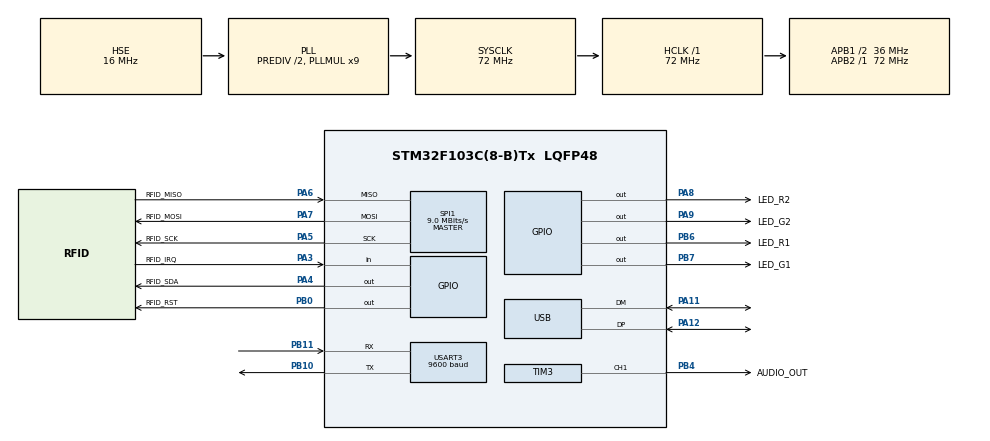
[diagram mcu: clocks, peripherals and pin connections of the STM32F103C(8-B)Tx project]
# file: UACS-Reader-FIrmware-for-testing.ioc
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Dma.Request0=USART3_TX
Dma.Request1=USART3_RX
Dma.USART3_RX.1.Direction=DMA_PERIPH_TO_MEMORY
Dma.USART3_RX.1.Instance=DMA1_Channel3
Dma.USART3_RX.1.MemDataAlignment=DMA_MDATAALIGN_BYTE
Dma.USART3_RX.1.MemInc=DMA_MINC_ENABLE
Dma.USART3_RX.1.Mode=DMA_NORMAL
Dma.USART3_RX.1.PeriphDataAlignment=DMA_PDATAALIGN_BYTE
Dma.USART3_RX.1.PeriphInc=DMA_PINC_DISABLE
Dma.USART3_RX.1.Priority=DMA_PRIORITY_LOW
Dma.USART3_TX.0.Direction=DMA_MEMORY_TO_PERIPH
Dma.USART3_TX.0.Instance=DMA1_Channel2
Dma.USART3_TX.0.MemDataAlignment=DMA_MDATAALIGN_BYTE
Dma.USART3_TX.0.MemInc=DMA_MINC_ENABLE
Dma.USART3_TX.0.Mode=DMA_NORMAL
Dma.USART3_TX.0.PeriphDataAlignment=DMA_PDATAALIGN_BYTE
Dma.USART3_TX.0.PeriphInc=DMA_PINC_DISABLE
Dma.USART3_TX.0.Priority=DMA_PRIORITY_LOW
Mcu.Family=STM32F1
Mcu.Name=STM32F103C(8-B)Tx
Mcu.Package=LQFP48
NVIC.DMA1_Channel2_IRQn=true\:0\:0\:false\:false\:true\:false\:true\:true
NVIC.DMA1_Channel3_IRQn=true\:0\:0\:false\:false\:true\:false\:true\:true
NVIC.PriorityGroup=NVIC_PRIORITYGROUP_4
NVIC.TIM2_IRQn=true\:0\:0\:false\:false\:true\:true\:true\:true
NVIC.USART3_IRQn=true\:0\:0\:false\:false\:true\:true\:true\:true
NVIC.USB_LP_CAN1_RX0_IRQn=true\:0\:0\:false\:false\:true\:false\:true\:true
PA11.Mode=Device
PA11.Signal=USB_DM
PA12.Mode=Device
PA12.Signal=USB_DP
PA13.Mode=Trace_Asynchronous_SW
PA13.Signal=SYS_JTMS-SWDIO
PA14.Mode=Trace_Asynchronous_SW
PA14.Signal=SYS_JTCK-SWCLK
PA3.GPIO_Label=RFID_IRQ
PA3.Signal=GPIO_Input
PA4.GPIO_Label=RFID_SDA
PA4.Signal=GPIO_Output
PA5.GPIO_Label=RFID_SCK
PA5.Mode=Full_Duplex_Master
PA5.Signal=SPI1_SCK
PA6.GPIO_Label=RFID_MISO
PA6.Mode=Full_Duplex_Master
PA6.Signal=SPI1_MISO
PA7.GPIO_Label=RFID_MOSI
PA7.Mode=Full_Duplex_Master
PA7.Signal=SPI1_MOSI
PA8.GPIO_Label=LED_R2
PA8.Signal=GPIO_Output
PA9.GPIO_Label=LED_G2
PA9.Signal=GPIO_Output
PB0.GPIO_Label=RFID_RST
PB0.Signal=GPIO_Output
PB10.Mode=Asynchronous
PB10.Signal=USART3_TX
PB11.Mode=Asynchronous
PB11.Signal=USART3_RX
PB3.Mode=Trace_Asynchronous_SW
PB3.Signal=SYS_JTDO-TRACESWO
PB4.GPIO_Label=AUDIO_OUT
PB4.Signal=S_TIM3_CH1
PB6.GPIO_Label=LED_R1
PB6.Signal=GPIO_Output
PB7.GPIO_Label=LED_G1
PB7.Signal=GPIO_Output
PD0-OSC_IN.Mode=HSE-External-Oscillator
PD0-OSC_IN.Signal=RCC_OSC_IN
PD1-OSC_OUT.Mode=HSE-External-Oscillator
PD1-OSC_OUT.Signal=RCC_OSC_OUT
ProjectManager.HeapSize=0x200
ProjectManager.StackSize=0x400
ProjectManager.TargetToolchain=STM32CubeIDE
RCC.AHBFreq_Value=72000000
RCC.APB1CLKDivider=RCC_HCLK_DIV2
RCC.APB1Freq_Value=36000000
RCC.APB1TimFreq_Value=72000000
RCC.APB2Freq_Value=72000000
RCC.APB2TimFreq_Value=72000000
RCC.HCLKFreq_Value=72000000
RCC.HSEDivPLL=RCC_HSE_PREDIV_DIV2
RCC.HSE_VALUE=16000000
RCC.PLLMUL=RCC_PLL_MUL9
RCC.PLLSourceVirtual=RCC_PLLSOURCE_HSE
RCC.SYSCLKFreq_VALUE=72000000
RCC.SYSCLKSource=RCC_SYSCLKSOURCE_PLLCLK
RCC.USBFreq_Value=48000000
RCC.USBPrescaler=RCC_USBCLKSOURCE_PLL_DIV1_5
SH.S_TIM3_CH1.0=TIM3_CH1,PWM Generation1 CH1
SPI1.BaudRatePrescaler=SPI_BAUDRATEPRESCALER_8
SPI1.CalculateBaudRate=9.0 MBits/s
SPI1.Direction=SPI_DIRECTION_2LINES
SPI1.Mode=SPI_MODE_MASTER
SPI1.VirtualType=VM_MASTER
TIM2.AutoReloadPreload=TIM_AUTORELOAD_PRELOAD_DISABLE
TIM2.Period=1124
TIM2.Prescaler=0
TIM3.AutoReloadPreload=TIM_AUTORELOAD_PRELOAD_ENABLE
TIM3.Channel-PWM\ Generation1\ CH1=TIM_CHANNEL_1
TIM3.Period=1124
USART3.BaudRate=9600
USART3.VirtualMode=VM_ASYNC
USB_DEVICE.CLASS_NAME_FS=CDC
USB_DEVICE.USBD_DEBUG_LEVEL=3
USB_DEVICE.VirtualMode=Cdc
USB_DEVICE.VirtualModeFS=Cdc_FS
VP_TIM2_VS_ClockSourceINT.Mode=Internal
VP_TIM3_VS_ClockSourceINT.Mode=Internal
VP_USB_DEVICE_VS_USB_DEVICE_CDC_FS.Mode=CDC_FS
board=custom

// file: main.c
/* USER CODE BEGIN Header */
/**
  ******************************************************************************
  * @file           : main.c
  * @brief          : Main program body
  ******************************************************************************
  * @attention
  *
  * Copyright (c) 2025 STMicroelectronics.
  * All rights reserved.
  *
  * This software is licensed under terms that can be found in the LICENSE file
  * in the root directory of this software component.
  * If no LICENSE file comes with this software, it is provided AS-IS.
  *
  ******************************************************************************
  */
/* USER CODE END Header */
#include "main.h"
#include "usb_device.h"

/* USER CODE BEGIN Includes */
#include <math.h>
#include "rc522.h"

/* USER CODE END Includes */

/* USER CODE BEGIN PTD */
typedef struct {
    GPIO_TypeDef *port;
    uint16_t pin;
} LedConfig_t;
/* USER CODE END PTD */

/* USER CODE BEGIN PD */
#define SAMPLES 64
#define PI 3.14159265358979323846f
#define LED_COUNT 4
/* USER CODE END PD */

SPI_HandleTypeDef hspi1;

TIM_HandleTypeDef htim2;
TIM_HandleTypeDef htim3;

UART_HandleTypeDef huart3;
DMA_HandleTypeDef hdma_usart3_tx;
DMA_HandleTypeDef hdma_usart3_rx;

/* USER CODE BEGIN PV */
uint16_t sine_table[SAMPLES];
uint8_t sample_no = 0;

/* variables for managing receptions*/
volatile uint8_t uart_running = 0;
volatile uint8_t rc522_running = 0;

/* variables for managing leds*/
uint8_t state = 0;
uint8_t current_led = 0;
uint32_t blink_duration = 200;
uint32_t last_change_time = 0;
uint8_t total_cycles = 0;
uint8_t completed_cycles = 0;
uint8_t sequence_active = 0;
char led_status[] = "grgr";

/*variables for reading and recepting UID of cards*/
uint8_t status;
uint8_t sNum[8];
uint8_t card_id[8];
uint8_t tmp[8];
char out[24];

/*uart buffers*/
uint8_t uart_txbuf[64];
uint8_t uart_rxbuf[64];

/*usb buffer*/
char rx_buffer[1024];
uint8_t rx_index = 0;

/* USER CODE END PV */

void SystemClock_Config(void);
static void MX_GPIO_Init(void);
static void MX_DMA_Init(void);
static void MX_SPI1_Init(void);
static void MX_USART3_UART_Init(void);
static void MX_TIM3_Init(void);
static void MX_TIM2_Init(void);

/* USER CODE BEGIN 0 */
LedConfig_t led_sequence[LED_COUNT] = {
    {GPIOB, GPIO_PIN_6},
    {GPIOB, GPIO_PIN_7},
    {GPIOA, GPIO_PIN_8},
    {GPIOA, GPIO_PIN_9}
};
typedef enum {
    MENU_MAIN,
    MENU_LED,
	MENU_BLICK,
    MENU_UART,
    MENU_TIMER,
	MENU_RC522,
} MenuState;

MenuState currentMenu = MENU_MAIN;
/* USER CODE END 0 */

int main(void)
{

  /* MCU Configuration--------------------------------------------------------*/

  /* Reset of all peripherals, Initializes the Flash interface and the Systick. */
  HAL_Init();

  /* Configure the system clock */
  SystemClock_Config();

  /* Initialize all configured peripherals */
  MX_GPIO_Init();
  MX_DMA_Init();
  MX_SPI1_Init();
  MX_USART3_UART_Init();
  MX_USB_DEVICE_Init();
  MX_TIM3_Init();
  MX_TIM2_Init();

  /* USER CODE BEGIN 2 */

  MFRC522_Init();
  Generate_Pulse_Lenght();
  Period_Led_Blick(2);
  Print_Menu();
  /* USER CODE END 2 */

  /* Infinite loop */
  while (1)
  {

    /* USER CODE BEGIN 3 */
	  Led_Sequence_Update();
	  status = MFRC522_Request(PICC_REQIDL, card_id);
	  status = MFRC522_Anticoll(sNum);
	  memcpy(tmp, sNum, 5);

	  if(rc522_running && (tmp[0] != 147 && tmp[1] != 32)){
		  sprintf(out, "%x%x%x%x%x\r\n", tmp[0], tmp[1], tmp[2], tmp[3], tmp[4]);
		  CDC_Transmit_FS(out, sizeof(out));
	  }else if (uart_running){
		  HAL_UART_Transmit(&huart3, uart_txbuf, sizeof(uart_txbuf), 100);
	  }
	  HAL_UART_Receive_IT(&huart3, uart_rxbuf, sizeof(uart_rxbuf));
  }
  /* USER CODE END 3 */
}

void SystemClock_Config(void)
{
  RCC_OscInitTypeDef RCC_OscInitStruct = {0};
  RCC_ClkInitTypeDef RCC_ClkInitStruct = {0};
  RCC_PeriphCLKInitTypeDef PeriphClkInit = {0};

  /** Initializes the RCC Oscillators according to the specified parameters
  * in the RCC_OscInitTypeDef structure.
  */
  RCC_OscInitStruct.OscillatorType = RCC_OSCILLATORTYPE_HSE;
  RCC_OscInitStruct.HSEState = RCC_HSE_ON;
  RCC_OscInitStruct.HSEPredivValue = RCC_HSE_PREDIV_DIV2;
  RCC_OscInitStruct.HSIState = RCC_HSI_ON;
  RCC_OscInitStruct.PLL.PLLState = RCC_PLL_ON;
  RCC_OscInitStruct.PLL.PLLSource = RCC_PLLSOURCE_HSE;
  RCC_OscInitStruct.PLL.PLLMUL = RCC_PLL_MUL9;
  if (HAL_RCC_OscConfig(&RCC_OscInitStruct) != HAL_OK)
  {
    Error_Handler();
  }

  /** Initializes the CPU, AHB and APB buses clocks
  */
  RCC_ClkInitStruct.ClockType = RCC_CLOCKTYPE_HCLK|RCC_CLOCKTYPE_SYSCLK
                              |RCC_CLOCKTYPE_PCLK1|RCC_CLOCKTYPE_PCLK2;
  RCC_ClkInitStruct.SYSCLKSource = RCC_SYSCLKSOURCE_PLLCLK;
  RCC_ClkInitStruct.AHBCLKDivider = RCC_SYSCLK_DIV1;
  RCC_ClkInitStruct.APB1CLKDivider = RCC_HCLK_DIV2;
  RCC_ClkInitStruct.APB2CLKDivider = RCC_HCLK_DIV1;

  if (HAL_RCC_ClockConfig(&RCC_ClkInitStruct, FLASH_LATENCY_2) != HAL_OK)
  {
    Error_Handler();
  }
  PeriphClkInit.PeriphClockSelection = RCC_PERIPHCLK_USB;
  PeriphClkInit.UsbClockSelection = RCC_USBCLKSOURCE_PLL_DIV1_5;
  if (HAL_RCCEx_PeriphCLKConfig(&PeriphClkInit) != HAL_OK)
  {
    Error_Handler();
  }
}

static void MX_SPI1_Init(void)
{

  /* SPI1 parameter configuration*/
  hspi1.Instance = SPI1;
  hspi1.Init.Mode = SPI_MODE_MASTER;
  hspi1.Init.Direction = SPI_DIRECTION_2LINES;
  hspi1.Init.DataSize = SPI_DATASIZE_8BIT;
  hspi1.Init.CLKPolarity = SPI_POLARITY_LOW;
  hspi1.Init.CLKPhase = SPI_PHASE_1EDGE;
  hspi1.Init.NSS = SPI_NSS_SOFT;
  hspi1.Init.BaudRatePrescaler = SPI_BAUDRATEPRESCALER_8;
  hspi1.Init.FirstBit = SPI_FIRSTBIT_MSB;
  hspi1.Init.TIMode = SPI_TIMODE_DISABLE;
  hspi1.Init.CRCCalculation = SPI_CRCCALCULATION_DISABLE;
  hspi1.Init.CRCPolynomial = 10;
  if (HAL_SPI_Init(&hspi1) != HAL_OK)
  {
    Error_Handler();
  }

}

static void MX_TIM2_Init(void)
{

  TIM_ClockConfigTypeDef sClockSourceConfig = {0};
  TIM_MasterConfigTypeDef sMasterConfig = {0};

  htim2.Instance = TIM2;
  htim2.Init.Prescaler = 0;
  htim2.Init.CounterMode = TIM_COUNTERMODE_UP;
  htim2.Init.Period = 1124;
  htim2.Init.ClockDivision = TIM_CLOCKDIVISION_DIV1;
  htim2.Init.AutoReloadPreload = TIM_AUTORELOAD_PRELOAD_DISABLE;
  if (HAL_TIM_Base_Init(&htim2) != HAL_OK)
  {
    Error_Handler();
  }
  sClockSourceConfig.ClockSource = TIM_CLOCKSOURCE_INTERNAL;
  if (HAL_TIM_ConfigClockSource(&htim2, &sClockSourceConfig) != HAL_OK)
  {
    Error_Handler();
  }
  sMasterConfig.MasterOutputTrigger = TIM_TRGO_RESET;
  sMasterConfig.MasterSlaveMode = TIM_MASTERSLAVEMODE_DISABLE;
  if (HAL_TIMEx_MasterConfigSynchronization(&htim2, &sMasterConfig) != HAL_OK)
  {
    Error_Handler();
  }

}

static void MX_TIM3_Init(void)
{

  TIM_ClockConfigTypeDef sClockSourceConfig = {0};
  TIM_MasterConfigTypeDef sMasterConfig = {0};
  TIM_OC_InitTypeDef sConfigOC = {0};

  htim3.Instance = TIM3;
  htim3.Init.Prescaler = 0;
  htim3.Init.CounterMode = TIM_COUNTERMODE_UP;
  htim3.Init.Period = 1124;
  htim3.Init.ClockDivision = TIM_CLOCKDIVISION_DIV1;
  htim3.Init.AutoReloadPreload = TIM_AUTORELOAD_PRELOAD_ENABLE;
  if (HAL_TIM_Base_Init(&htim3) != HAL_OK)
  {
    Error_Handler();
  }
  sClockSourceConfig.ClockSource = TIM_CLOCKSOURCE_INTERNAL;
  if (HAL_TIM_ConfigClockSource(&htim3, &sClockSourceConfig) != HAL_OK)
  {
    Error_Handler();
  }
  if (HAL_TIM_PWM_Init(&htim3) != HAL_OK)
  {
    Error_Handler();
  }
  sMasterConfig.MasterOutputTrigger = TIM_TRGO_RESET;
  sMasterConfig.MasterSlaveMode = TIM_MASTERSLAVEMODE_DISABLE;
  if (HAL_TIMEx_MasterConfigSynchronization(&htim3, &sMasterConfig) != HAL_OK)
  {
    Error_Handler();
  }
  sConfigOC.OCMode = TIM_OCMODE_PWM1;
  sConfigOC.Pulse = 0;
  sConfigOC.OCPolarity = TIM_OCPOLARITY_HIGH;
  sConfigOC.OCFastMode = TIM_OCFAST_DISABLE;
  if (HAL_TIM_PWM_ConfigChannel(&htim3, &sConfigOC, TIM_CHANNEL_1) != HAL_OK)
  {
    Error_Handler();
  }
  HAL_TIM_MspPostInit(&htim3);

}

static void MX_USART3_UART_Init(void)
{

  huart3.Instance = USART3;
  huart3.Init.BaudRate = 9600;
  huart3.Init.WordLength = UART_WORDLENGTH_8B;
  huart3.Init.StopBits = UART_STOPBITS_1;
  huart3.Init.Parity = UART_PARITY_NONE;
  huart3.Init.Mode = UART_MODE_TX_RX;
  huart3.Init.HwFlowCtl = UART_HWCONTROL_NONE;
  huart3.Init.OverSampling = UART_OVERSAMPLING_16;
  if (HAL_UART_Init(&huart3) != HAL_OK)
  {
    Error_Handler();
  }

}

static void MX_DMA_Init(void)
{

  /* DMA controller clock enable */
  __HAL_RCC_DMA1_CLK_ENABLE();

  /* DMA interrupt init */
  /* DMA1_Channel2_IRQn interrupt configuration */
  HAL_NVIC_SetPriority(DMA1_Channel2_IRQn, 0, 0);
  HAL_NVIC_EnableIRQ(DMA1_Channel2_IRQn);
  /* DMA1_Channel3_IRQn interrupt configuration */
  HAL_NVIC_SetPriority(DMA1_Channel3_IRQn, 0, 0);
  HAL_NVIC_EnableIRQ(DMA1_Channel3_IRQn);

}

static void MX_GPIO_Init(void)
{
  GPIO_InitTypeDef GPIO_InitStruct = {0};

  /* GPIO Ports Clock Enable */
  __HAL_RCC_GPIOD_CLK_ENABLE();
  __HAL_RCC_GPIOA_CLK_ENABLE();
  __HAL_RCC_GPIOB_CLK_ENABLE();

  /*Configure GPIO pin Output Level */
  HAL_GPIO_WritePin(GPIOA, RFID_SDA_Pin|LED_R2_Pin|LED_G2_Pin, GPIO_PIN_RESET);

  /*Configure GPIO pin Output Level */
  HAL_GPIO_WritePin(GPIOB, RFID_RST_Pin|LED_R1_Pin|LED_G1_Pin, GPIO_PIN_RESET);

  /*Configure GPIO pin : RFID_IRQ_Pin */
  GPIO_InitStruct.Pin = RFID_IRQ_Pin;
  GPIO_InitStruct.Mode = GPIO_MODE_INPUT;
  GPIO_InitStruct.Pull = GPIO_NOPULL;
  HAL_GPIO_Init(RFID_IRQ_GPIO_Port, &GPIO_InitStruct);

  /*Configure GPIO pins : RFID_SDA_Pin LED_R2_Pin LED_G2_Pin */
  GPIO_InitStruct.Pin = RFID_SDA_Pin|LED_R2_Pin|LED_G2_Pin;
  GPIO_InitStruct.Mode = GPIO_MODE_OUTPUT_PP;
  GPIO_InitStruct.Pull = GPIO_NOPULL;
  GPIO_InitStruct.Speed = GPIO_SPEED_FREQ_LOW;
  HAL_GPIO_Init(GPIOA, &GPIO_InitStruct);

  /*Configure GPIO pins : RFID_RST_Pin LED_R1_Pin LED_G1_Pin */
  GPIO_InitStruct.Pin = RFID_RST_Pin|LED_R1_Pin|LED_G1_Pin;
  GPIO_InitStruct.Mode = GPIO_MODE_OUTPUT_PP;
  GPIO_InitStruct.Pull = GPIO_NOPULL;
  GPIO_InitStruct.Speed = GPIO_SPEED_FREQ_LOW;
  HAL_GPIO_Init(GPIOB, &GPIO_InitStruct);

}

/* USER CODE BEGIN 4 */
int _write(int file, char *ptr, int len) {
	CDC_Transmit_FS((uint8_t*) ptr, len);
	return len;
}

void Led_Sequence_Update(void) {
    if (!sequence_active) return;

    uint32_t now = HAL_GetTick();

    if (state == 0) {
        HAL_GPIO_WritePin(led_sequence[current_led].port, led_sequence[current_led].pin, GPIO_PIN_SET);
        last_change_time = now;
        state = 1;
    } else {
        if (now - last_change_time >= blink_duration) {
            HAL_GPIO_WritePin(led_sequence[current_led].port, led_sequence[current_led].pin, GPIO_PIN_RESET);
            last_change_time = now;
            state = 0;
            current_led++;

            if (current_led >= LED_COUNT) {
                current_led = 0;
                completed_cycles++;

                if (completed_cycles >= total_cycles) {
                    sequence_active = 0;
                }
            }
        }
    }
}

void Generate_Pulse_Lenght() {
    for (uint8_t i = 0; i < SAMPLES; i++) {
    	float value = ((sinf(2.0f*PI*((float)i/(float)SAMPLES)) + 1.0f)/2.0f)*1124.0f;
        sine_table[i] = value;
    }
}
void HAL_TIM_PeriodElapsedCallback(TIM_HandleTypeDef *htim){
	TIM3->CCR1 = sine_table[sample_no];
	sample_no++;
	if (sample_no > SAMPLES){
		sample_no = 0;
	}
}
void USB_CDC_RxHandler(uint8_t* Buf, uint32_t Len){
	if (Len == 0 && strcmp((char*)Buf, "\n")==0){
		Serial_Command_Handler((char*)Buf);
	}
	for (uint32_t i = 0; i < Len; i++) {
	        char ch = Buf[i];

	        if (ch == '\r' || ch == '\n') {
	            rx_buffer[rx_index] = '\0';
	            Serial_Command_Handler(rx_buffer);
	            rx_index = 0;
	        }
	        else {
	            if (rx_index < 1024 - 1) {
	                rx_buffer[rx_index] = ch;
	                rx_index++;
	            }
	        }
	    }
}
void Serial_Command_Handler(char * Buf){
	uint8_t invalid[] = "Invalid command\r\n";
	if(strcmp(Buf, "q")==0 || strcmp(Buf, "Q" )== 0){
		Print_Menu();
		switch(currentMenu){
		case MENU_TIMER:
			Timer_Stoper();
		case MENU_UART:
			UART_Stop_Tr();
		case MENU_RC522:
			RC522_Stop_Tr();
		}

		currentMenu = MENU_MAIN;
		return;
	}

	switch (currentMenu){
	case MENU_MAIN:
		if (strcmp(Buf, "T") == 0) {
			Led_Menu();
			currentMenu = MENU_LED;
		}else if (strcmp(Buf, "B") == 0){
			Blick_Menu();
			currentMenu = MENU_BLICK;
		}else if (strcmp(Buf, "U") == 0)  {
			UART_Menu();
			currentMenu = MENU_UART;
		}else if (strcmp(Buf, "P") == 0){
			Timer_Menu();
			currentMenu = MENU_TIMER;
		}else if (strcmp(Buf, "R") == 0){
			RC522_Menu();
			RC522_Start_Tr();
			currentMenu = MENU_RC522;
		}else if (strcmp(Buf, "") == 0){
			Print_Menu();
			currentMenu = MENU_MAIN;
		}else {
			CDC_Transmit_FS(invalid, sizeof(invalid));
		}
		break;
	case MENU_LED:
		uint8_t led[16];
		 if (strcmp(Buf, "") == 0){

			 sprintf((char *)led, "%s | ledtest> ", led_status);
			 CDC_Transmit_FS(led, sizeof(led));
			return;
		 }else if (strcmp(Buf, "1") == 0) {
			HAL_GPIO_TogglePin(GPIOB, GPIO_PIN_7);
			Swap_Char(0);
		}else if (strcmp(Buf, "2") == 0){
			HAL_GPIO_TogglePin(GPIOB, GPIO_PIN_6);
			Swap_Char(1);
		}else if (strcmp(Buf, "3") == 0)  {
			HAL_GPIO_TogglePin(GPIOA, GPIO_PIN_9);
			Swap_Char(2);
		}else if (strcmp(Buf, "4") == 0){
			HAL_GPIO_TogglePin(GPIOA, GPIO_PIN_8);
			Swap_Char(3);
		}else {
			CDC_Transmit_FS(invalid, sizeof(invalid));
		}
		sprintf((char *)led, "%s | ledtest> ", led_status);
		CDC_Transmit_FS(led, sizeof(led));
		break;
	case MENU_BLICK:
		 if (strcmp(Buf, "") == 0){
			 uint8_t blickled[] = "Number of cycles,delay (ms) | blinkled> ";
			 CDC_Transmit_FS(blickled, sizeof(blickled));
			return;
		 }
		char* t_c = strtok(Buf, ",");
		char* t_d = strtok(NULL, ",");
		if (strlen(t_d) != 0){
			blink_duration = atoi(t_d);
		}
		uint8_t cycles = atoi(t_c);
		Period_Led_Blick(cycles);
		uint8_t blickled[] = "Number of cycles,delay (ms) | blinkled> ";
		CDC_Transmit_FS(blickled, sizeof(blickled));
		break;
	case MENU_TIMER:
		if (strcmp(Buf, "") == 0){
			uint8_t pwm[] = "PWM\r\nFrequency of sinus (Hz) | pwmtest> ";
			CDC_Transmit_FS(pwm, sizeof(pwm));
			return;
		}
		Timer_Starter(atoi(Buf));
		uint8_t pwm[] = "PWM\r\nFrequency of sinus (Hz) | pwmtest> ";
		CDC_Transmit_FS(pwm, sizeof(pwm));
		break;
	case MENU_UART:
		UART_Start_Tr(Buf);
		break;
	}
}
void Swap_Char(uint8_t i){
	if(led_status[i] == 71 || led_status[i] == 82){
		char c =  led_status[i] + 32;
		led_status[i] = c;
	}else if(led_status[i] == 103 || led_status[i] == 114){
		char c =  led_status[i] - 32;
		led_status[i] = c;
	}
}

void Print_Menu(){
	uint8_t buf[] = "q return/end action\r\nMenu:\r\nT) Toggle led\r\nB) Blink led\r\nU) UART test\r\nP) PWM test\r\nR) RC522 test\r\nmenu> ";
	CDC_Transmit_FS(buf, sizeof(buf));
}
void Led_Menu(){
	uint8_t buf[76];
	sprintf((char *)buf, "Toggle led: \r\n1) 1 Green\r\n2) 1 Red\r\n3) 2 Green \r\n4) 2 Red\r\n%s | ledtest> ", led_status);
	CDC_Transmit_FS(buf, sizeof(buf));
	}
void Blick_Menu(){
	uint8_t buf[] = "Blink led \r\nNumber of cycles,delay (ms) | blinkled> ";
	CDC_Transmit_FS(buf, sizeof(buf));
}
void UART_Menu(){
	uint8_t buf[] = "UART \r\nWrite message | uarttest> ";
	CDC_Transmit_FS(buf, sizeof(buf));
}
void RC522_Menu(){
	uint8_t buf[] = "RC522 | Output:\r\n";
	CDC_Transmit_FS(buf, sizeof(buf));
}
void Timer_Menu(){
	uint8_t buf[] = "PWM\r\nFrequency of sinus (Hz) | pwmtest> ";
	CDC_Transmit_FS(buf, sizeof(buf));
}

void Period_Led_Blick(uint8_t cycles){
	    if (cycles == 0) return;
	    total_cycles = cycles;
	    completed_cycles = 0;
	    current_led = 0;
	    state = 0;
	    sequence_active = 1;
}

void UART_Start_Tr(char * Buf){
	uart_running = 1;
	memcpy(uart_txbuf, Buf, strlen(Buf));
}

void UART_Stop_Tr(){
	uart_running = 0;
}

void RC522_Start_Tr(){
	rc522_running = 1;
}

void RC522_Stop_Tr(){
	rc522_running = 0;
}
void Timer_Starter(uint16_t freq){
	Modify_Timer_ARR(freq);
	HAL_TIM_PWM_Start(&htim3, TIM_CHANNEL_1);
	HAL_TIM_Base_Start_IT(&htim2);
}

void Timer_Stoper(){
	HAL_TIM_PWM_Stop(&htim3, TIM_CHANNEL_1);
	HAL_TIM_Base_Stop_IT(&htim2);

}

void HAL_UART_RxCpltCallback(UART_HandleTypeDef *huart){
	CDC_Transmit_FS(uart_rxbuf, sizeof(uart_rxbuf));
}

void Modify_Timer_ARR(uint16_t freq){
	float time = 1.0f/(float)freq;
	float arr = ((time/(float)SAMPLES)*72000000.0f)/1.0f - 1.0f;
	TIM2->ARR = (uint32_t)arr;
}
/* USER CODE END 4 */

void Error_Handler(void)
{
  __disable_irq();
  while (1)
  {
  }
}
